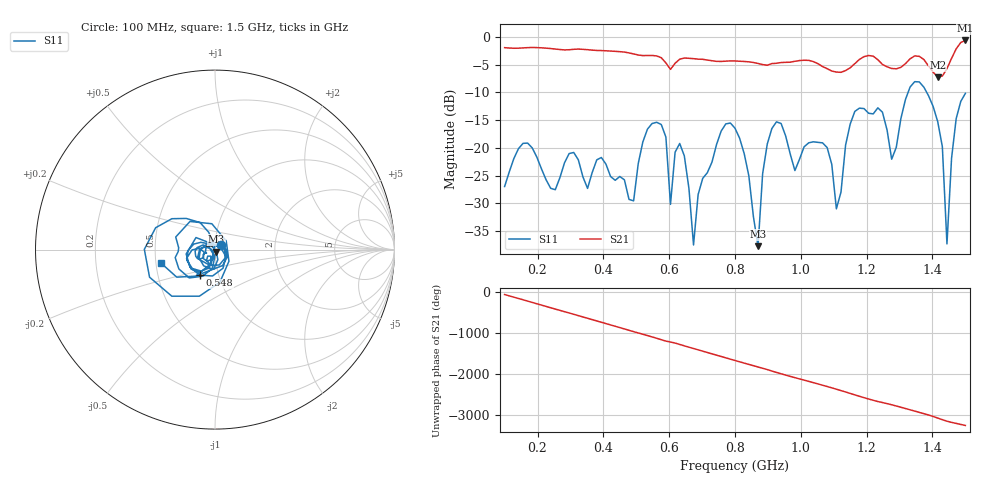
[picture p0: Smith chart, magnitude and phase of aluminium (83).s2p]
! NanoVNA-App
! Date: 2025-09-26 09:58:42
! Start: 100MHz Stop: 1,5GHz Points: 101
! S-Parameter data: F S11 S21 S12 S22
# Hz S RI R 50
!  Frequency  S11_Real  S11_Imag  S21_Real  S21_Imag  S12_Real  S12_Imag  S22_Real  S22_Imag
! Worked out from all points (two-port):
!   101 points, 100 MHz to 1.5 GHz, reference 50 ohm
!   highest |S21| = -0.62 dB at 1.5 GHz (marker M1); lowest = -7.2 dB at 1.416 GHz (marker M2)
!   |S21| within 3 dB of the highest: start of sweep to 571.1 MHz; 1.19 GHz to 1.224 GHz (33.85 MHz wide, 2.81 % of centre) (the widest 2 of 4)
!   lowest |S11| = -37.7 dB at 870 MHz (marker M3), VSWR 1.03, Z = 50.7 - j1.1 ohm
!   |S11| at or under -10 dB: start of sweep to 1.326 GHz; 1.383 GHz to end of sweep
!   S12 and S22 are empty: the file has one direction only
!   S11 on the Smith chart (normalised r, x): 100 MHz: 1.07, +0.06; 548 MHz: 0.81, -0.24; 1.5 GHz: 0.53, -0.09
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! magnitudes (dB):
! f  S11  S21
! 100 MHz  -27.0  -1.9
! 156 MHz  -19.2  -2.0
! 338 MHz  -25.2  -2.2
! 492 MHz  -29.6  -3.0
! 548 MHz  -15.6  -3.3
! 576 MHz  -15.8  -3.7
! 604 MHz  -30.2  -5.8
! 646 MHz  -21.4  -3.8
! 674 MHz  -37.5  -3.9
! 702 MHz  -25.5  -4.0
! 800 MHz  -16.5  -4.3
! 870 MHz  -37.7  -4.8
! 912 MHz  -16.5  -4.8
! 1.038 GHz  -18.9  -4.4
! 1.108 GHz  -31.0  -6.3
! 1.164 GHz  -13.4  -4.8
! 1.276 GHz  -22.0  -5.7
! 1.346 GHz  -8.1  -3.4
! 1.416 GHz  -15.3  -7.2
! 1.444 GHz  -37.3  -5.7
! 1.472 GHz  -14.7  -2.1
! 1.5 GHz  -10.2  -0.6
